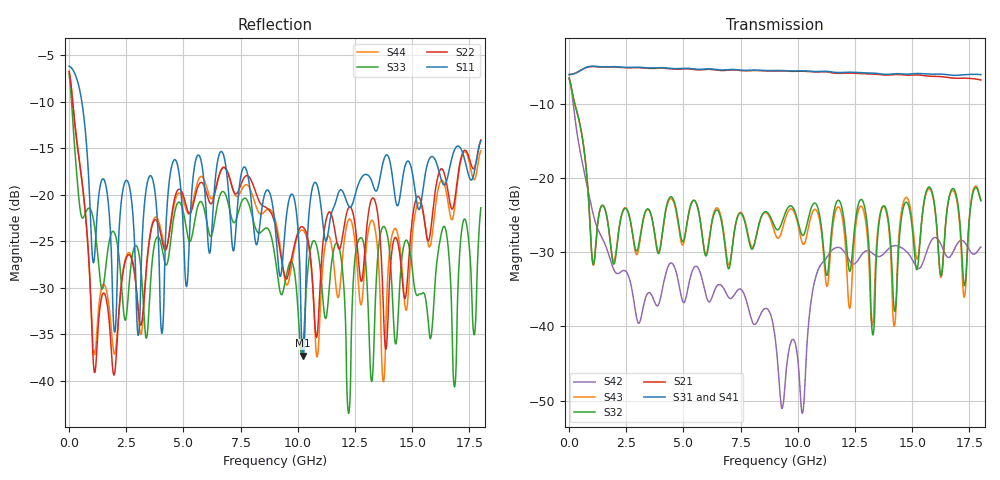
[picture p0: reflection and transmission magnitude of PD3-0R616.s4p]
! MARKI MICROWAVE INC.
! Email:  info@markimicrowave.com  Phone:  408-778-4200
! Model Number:  PD3-0R616  Date:  10/12
! Filename:		PD3_0R616.S4P  Version: 1.0
! Description:  4-port S-parameter data for Power Divider PD3-0R616
! Frequency Range: 	10 MHz to 18 GHz
! Port Configuration:	PORT 1: Common,
!  PORT 2, PORT 3, PORT 4: Output
! S4P File: Measurements: Mag<S11> Ang<S11> Mag<S12> Ang<S12> Mag<S13> Ang<S13> Mag<S14> Ang<S14>! row 1
!  Mag<S21> Ang<S21> Mag<S22> Ang<S22> Mag<S23> Ang<S23> Mag<S24> Ang<S24>! row 2
!  Mag<S31> Ang<S31> Mag<S32> Ang<S32> Mag<S33> Ang<S33> Mag<S34> Ang<S34>! row 3
!  Mag<S41> Ang<S41> Mag<S42> Ang<S42> Mag<S43> Ang<S43> Mag<S44> Ang<S44>! row 4
# Hz S  dB  R 50
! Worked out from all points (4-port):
!   801 points, 10 MHz to 18 GHz, reference 50 ohm
!   strongest paths, dB at 10 MHz, 4.508 GHz, 9.005 GHz, 13.5 GHz, 18 GHz:
!     S31: -6.1, -5.2, -5.5, -5.9, -6.1
!     S41: -6.1, -5.3, -5.6, -6.0, -6.7
!     S21: -6.0, -5.3, -5.6, -6.0, -6.8
!     S32: -6.6, -22.6, -26.6, -27.4, -23.1
!     S43: -6.6, -22.9, -27.5, -26.7, -23.0
!     S42: -6.5, -31.5, -41.4, -30.6, -29.3
!   lowest |S11| = -37.3 dB at 10.24 GHz (marker M1), VSWR 1.03, Z = 51 - j0.989 ohm
!   |S11| at or under -10 dB: 566 MHz to end of sweep
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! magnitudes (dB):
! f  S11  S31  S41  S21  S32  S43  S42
! 10 MHz  -6.2  -6.1  -6.1  -6.0  -6.6  -6.6  -6.5
! 1.134 GHz  -26.2  -4.9  -5.0  -5.0  -30.5  -30.6  -25.7
! 6.666 GHz  -15.3  -5.4  -5.5  -5.5  -25.9  -25.5  -34.5
! 10.24 GHz  -37.3  -5.6  -5.6  -5.6  -27.7  -28.9  -51.2
! 13.75 GHz  -16.3  -6.0  -6.1  -6.1  -23.7  -23.8  -30.2
! 16.85 GHz  -15.1  -6.2  -6.5  -6.6  -21.6  -22.0  -29.5
! 18 GHz  -14.2  -6.1  -6.7  -6.8  -23.1  -23.0  -29.3
